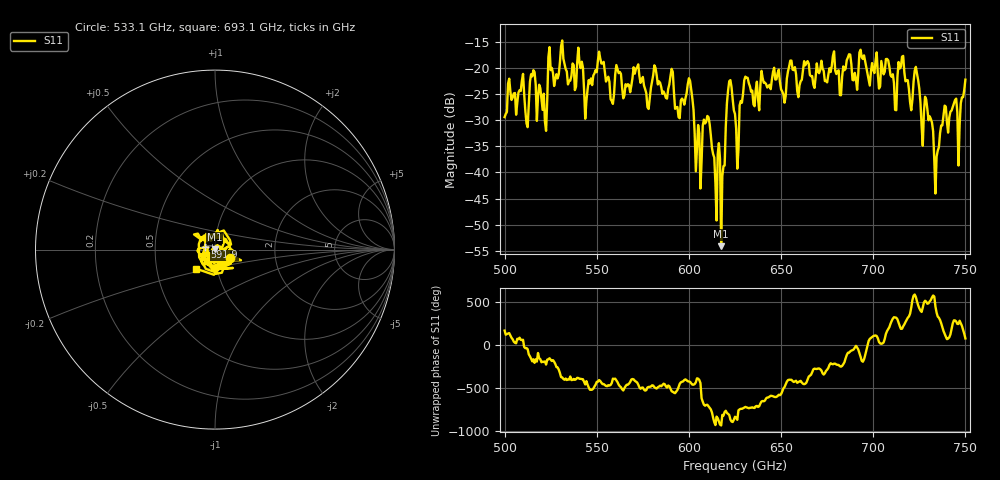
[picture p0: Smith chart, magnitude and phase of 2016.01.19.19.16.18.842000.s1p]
!Created with skrf (http://scikit-rf.org).
# GHz S RI R 50.0
!freq ReS11 ImS11
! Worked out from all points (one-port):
!   401 points, 500 GHz to 750 GHz, reference 50 ohm
!   lowest |S11| = -54.1 dB at 617.5 GHz (marker M1), VSWR 1.00, Z = 49.8 + j0.109 ohm
!   |S11| at or under -10 dB: start of sweep to end of sweep
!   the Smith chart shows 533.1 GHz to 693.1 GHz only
!   S11 on the Smith chart (normalised r, x): 533.1 GHz: 1.18, -0.11; 591.9 GHz: 0.89, +0.02; 693.1 GHz: 0.79, -0.17
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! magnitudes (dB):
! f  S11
! 500 GHz  -29.4
! 508.8 GHz  -24.4
! 511.9 GHz  -30.6
! 515 GHz  -21.6
! 521.9 GHz  -30.3
! 525 GHz  -20.4
! 531.2 GHz  -14.7
! 533.1 GHz  -20.2
! 562.5 GHz  -20.8
! 591.9 GHz  -24.7
! 593.8 GHz  -27.5
! 600.6 GHz  -22.5
! 605 GHz  -30.9
! 610 GHz  -29.2
! 617.5 GHz  -54.1
! 621.9 GHz  -22.5
! 625 GHz  -28.8
! 631.2 GHz  -21.9
! 651.2 GHz  -25.0
! 656.2 GHz  -20.3
! 687.5 GHz  -17.4
! 693.1 GHz  -16.5
! 718.8 GHz  -22.3
! 723.8 GHz  -21.1
! 734.4 GHz  -37.0
! 738.1 GHz  -29.2
! 746.9 GHz  -30.9
! 750 GHz  -22.2
